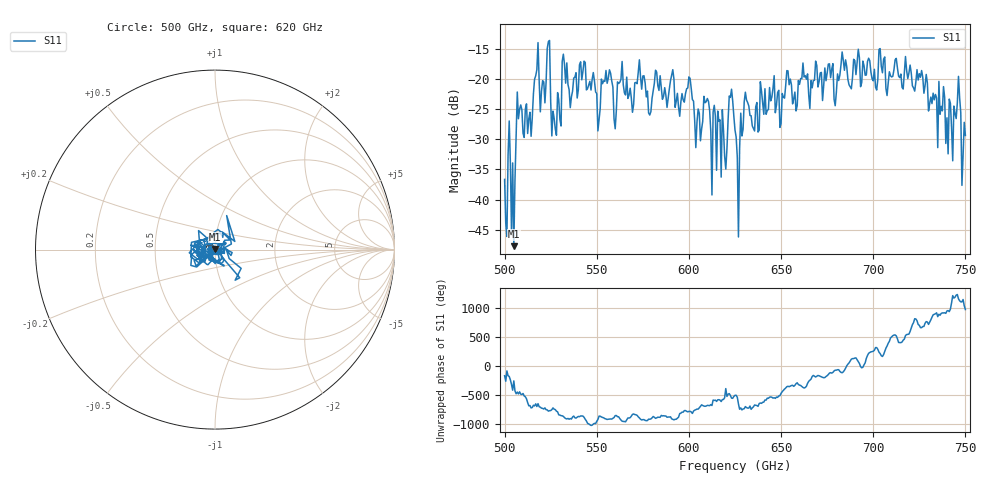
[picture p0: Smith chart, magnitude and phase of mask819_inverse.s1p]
!Created with skrf (http://scikit-rf.org).
# GHz S MA R 50.0
!freq magS11 angS11
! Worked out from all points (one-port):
!   401 points, 500 GHz to 750 GHz, reference 50 ohm
!   lowest |S11| = -47.7 dB at 505 GHz (marker M1), VSWR 1.01, Z = 49.9 + j0.403 ohm
!   |S11| at or under -10 dB: start of sweep to end of sweep
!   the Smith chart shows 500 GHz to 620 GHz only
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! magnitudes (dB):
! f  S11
! 500 GHz  -36.6
! 503.1 GHz  -33.9
! 505 GHz  -47.7
! 508.1 GHz  -25.0
! 513.8 GHz  -25.5
! 516.9 GHz  -19.5
! 520.6 GHz  -20.3
! 523.8 GHz  -13.8
! 526.9 GHz  -26.5
! 531.2 GHz  -17.0
! 542.5 GHz  -18.7
! 550.6 GHz  -28.6
! 562.5 GHz  -20.5
! 593.8 GHz  -22.4
! 600 GHz  -19.6
! 605 GHz  -25.0
! 609.4 GHz  -23.8
! 618.8 GHz  -28.5
! 623.1 GHz  -21.7
! 625 GHz  -28.5
! 626.2 GHz  -33.0
! 631.2 GHz  -23.5
! 656.2 GHz  -24.1
! 687.5 GHz  -21.3
! 718.8 GHz  -19.9
! 741.9 GHz  -24.0
! 746.2 GHz  -19.6
! 750 GHz  -29.3
